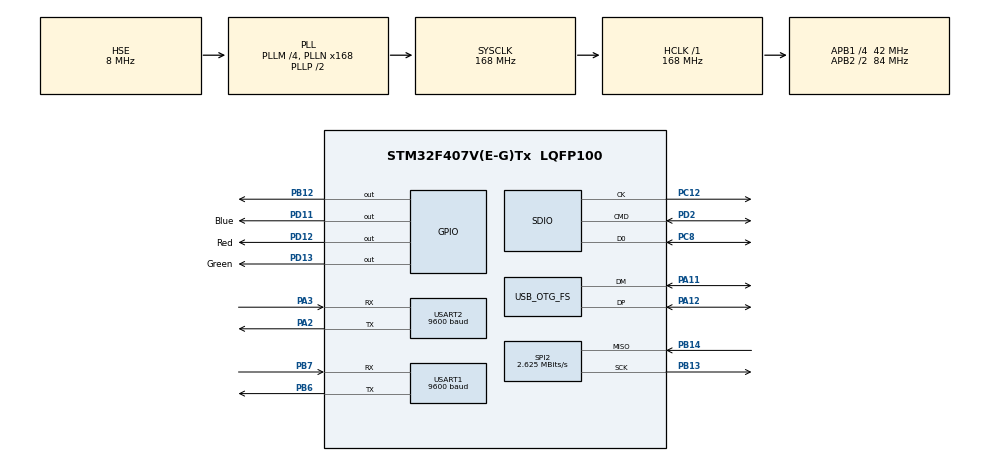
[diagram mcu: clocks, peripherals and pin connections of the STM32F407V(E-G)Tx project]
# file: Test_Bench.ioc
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FATFS.USE_DMA_CODE_SD=0
FATFS._CODE_PAGE=936
FATFS._USE_LFN=3
Mcu.Family=STM32F4
Mcu.Name=STM32F407V(E-G)Tx
Mcu.Package=LQFP100
NVIC.OTG_FS_IRQn=true\:0\:0\:false\:false\:true\:false\:true\:true
NVIC.PriorityGroup=NVIC_PRIORITYGROUP_4
NVIC.SDIO_IRQn=true\:1\:0\:true\:false\:true\:true\:true\:true
NVIC.TIM6_DAC_IRQn=true\:0\:0\:false\:false\:true\:true\:true\:true
NVIC.USART2_IRQn=true\:0\:0\:false\:false\:true\:true\:true\:true
PA11.Mode=Device_Only
PA11.Signal=USB_OTG_FS_DM
PA12.Mode=Device_Only
PA12.Signal=USB_OTG_FS_DP
PA13.Mode=Serial_Wire
PA13.Signal=SYS_JTMS-SWDIO
PA14.Mode=Serial_Wire
PA14.Signal=SYS_JTCK-SWCLK
PA2.Mode=Asynchronous
PA2.Signal=USART2_TX
PA3.Mode=Asynchronous
PA3.Signal=USART2_RX
PB12.GPIO_Speed=GPIO_SPEED_FREQ_VERY_HIGH
PB12.PinState=GPIO_PIN_SET
PB12.Signal=GPIO_Output
PB13.Mode=RX_Only_Simplex_Unidirect_Master
PB13.Signal=SPI2_SCK
PB14.Mode=RX_Only_Simplex_Unidirect_Master
PB14.Signal=SPI2_MISO
PB6.Mode=Asynchronous
PB6.Signal=USART1_TX
PB7.Mode=Asynchronous
PB7.Signal=USART1_RX
PC12.Mode=SD_1_bit
PC12.Signal=SDIO_CK
PC8.Mode=SD_1_bit
PC8.Signal=SDIO_D0
PD11.GPIO_Label=Blue
PD11.Signal=GPIO_Output
PD12.GPIO_Label=Red
PD12.Signal=GPIO_Output
PD13.GPIO_Label=Green
PD13.Signal=GPIO_Output
PD2.Mode=SD_1_bit
PD2.Signal=SDIO_CMD
PH0-OSC_IN.Mode=HSE-External-Oscillator
PH0-OSC_IN.Signal=RCC_OSC_IN
PH1-OSC_OUT.Mode=HSE-External-Oscillator
PH1-OSC_OUT.Signal=RCC_OSC_OUT
ProjectManager.HeapSize=0x200
ProjectManager.StackSize=0x400
ProjectManager.TargetToolchain=STM32CubeIDE
RCC.48MHZClocksFreq_Value=48000000
RCC.AHBFreq_Value=168000000
RCC.APB1CLKDivider=RCC_HCLK_DIV4
RCC.APB1Freq_Value=42000000
RCC.APB1TimFreq_Value=84000000
RCC.APB2CLKDivider=RCC_HCLK_DIV2
RCC.APB2Freq_Value=84000000
RCC.APB2TimFreq_Value=168000000
RCC.CortexFreq_Value=168000000
RCC.HCLKFreq_Value=168000000
RCC.HSE_VALUE=8000000
RCC.HSI_VALUE=16000000
RCC.LSE_VALUE=32768
RCC.PLLM=4
RCC.PLLN=168
RCC.PLLQ=7
RCC.SYSCLKFreq_VALUE=168000000
RCC.SYSCLKSource=RCC_SYSCLKSOURCE_PLLCLK
RCC.VCOOutputFreq_Value=336000000
SDIO.ClockDiv=4
SPI2.BaudRatePrescaler=SPI_BAUDRATEPRESCALER_16
SPI2.CalculateBaudRate=2.625 MBits/s
SPI2.Direction=SPI_DIRECTION_2LINES_RXONLY
SPI2.FirstBit=SPI_FIRSTBIT_MSB
SPI2.Mode=SPI_MODE_MASTER
SPI2.VirtualType=VM_MASTER
TIM6.Period=9
TIM6.Prescaler=8399
USART1.BaudRate=9600
USART1.VirtualMode=VM_ASYNC
USART2.BaudRate=9600
USART2.VirtualMode=VM_ASYNC
USB_DEVICE.CLASS_NAME_FS=CDC
USB_DEVICE.VirtualMode-CDC_FS=Cdc
USB_DEVICE.VirtualModeFS=Cdc_FS
USB_OTG_FS.VirtualMode=Device_Only
VP_FATFS_VS_SDIO.Mode=SDIO
VP_TIM6_VS_ClockSourceINT.Mode=Enable_Timer
VP_USB_DEVICE_VS_USB_DEVICE_CDC_FS.Mode=CDC_FS
board=custom

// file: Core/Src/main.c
/* USER CODE BEGIN Header */
/**
  ******************************************************************************
  * @file           : main.c
  * @brief          : Main program body
  ******************************************************************************
  * @attention
  *
  * Copyright (c) 2025 STMicroelectronics.
  * All rights reserved.
  *
  * This software is licensed under terms that can be found in the LICENSE file
  * in the root directory of this software component.
  * If no LICENSE file comes with this software, it is provided AS-IS.
  *
  ******************************************************************************
  */
/* USER CODE END Header */
#include "main.h"
#include "fatfs.h"
#include "sdio.h"
#include "spi.h"
#include "tim.h"
#include "usart.h"
#include "usb_device.h"
#include "gpio.h"

/* USER CODE BEGIN Includes */
#include <stdbool.h>
#include <stdio.h>
#include <string.h>
#include <time.h>

#include "stm32f4xx_hal.h"
#include "usbd_cdc.h"
#include "usbd_cdc_if.h"
#include "diskio.h"
#include "file_conf.h"
#include "message_define.h"
#include "pre_sen.h"
#include "temprature.h"
#include "EXTI.h"
#include "global.h"
/* USER CODE END Includes */

/* USER CODE BEGIN PTD */
extern int64_t time_ms;
extern int ms_counter;
extern char time_c[15];
/* USER CODE END PTD */

void SystemClock_Config(void);

int main(void)
{

  /* MCU Configuration--------------------------------------------------------*/

  /* Reset of all peripherals, Initializes the Flash interface and the Systick. */
  HAL_Init();

  /* Configure the system clock */
  SystemClock_Config();

  /* Initialize all configured peripherals */
  MX_GPIO_Init();
  MX_USART2_UART_Init();
  MX_USB_DEVICE_Init();
  MX_SDIO_SD_Init();
  MX_FATFS_Init();
  MX_SPI2_Init();
  MX_USART1_UART_Init();
  MX_TIM6_Init();
  /* USER CODE BEGIN 2 */

  SD_files_Init();
  SD_files_mount();

  bool time_flag = false;

  HAL_GPIO_WritePin(GPIOD, Red_Pin, GPIO_PIN_SET);
  HAL_GPIO_WritePin(GPIOD, Green_Pin, GPIO_PIN_RESET);
  HAL_GPIO_WritePin(GPIOD, Blue_Pin, GPIO_PIN_RESET);

  while (!time_flag) {
    if (usb_rx_len == 10) {
        time_ms = (int64_t)strtoll(usb_rx_buffer, NULL, 10);
        usb_rx_len = 0;
        Send_Init_Success_to_PC(System);
        time_ms = time_ms * 1000;
        time_flag = true;
    }
  }
    HAL_TIM_Base_Start_IT(&htim6);

  HAL_GPIO_WritePin(GPIOD, Red_Pin, GPIO_PIN_RESET);
  HAL_GPIO_WritePin(GPIOD, Green_Pin, GPIO_PIN_SET);
  HAL_GPIO_WritePin(GPIOD, Blue_Pin, GPIO_PIN_RESET);

  pre_init();

  /* USER CODE END 2 */

  /* Infinite loop */
  while (1)
  {

    /* USER CODE BEGIN 3 */

    if (usb_rx_len == 1) {
      usb_rx_len = 0;
      int command = usb_rx_buffer[0];
      switch (command) {
        case 0x01 :
          pre_clear();
          break;

        case 0x02 :
          Start_Read();

          HAL_GPIO_WritePin(GPIOD, Red_Pin, GPIO_PIN_RESET);
          HAL_GPIO_WritePin(GPIOD, Green_Pin, GPIO_PIN_RESET);
          HAL_GPIO_WritePin(GPIOD, Blue_Pin, GPIO_PIN_SET);

          while (true) {
            if (usb_rx_len == 1 && usb_rx_buffer[0] == 0xFF) {
              usb_rx_len = 0;
              finishing_Read();

              HAL_GPIO_WritePin(GPIOD, Red_Pin, GPIO_PIN_RESET);
              HAL_GPIO_WritePin(GPIOD, Green_Pin, GPIO_PIN_SET);
              HAL_GPIO_WritePin(GPIOD, Blue_Pin, GPIO_PIN_RESET);

              break;
            }
            usb_rx_len = 0;
            Read_value();
            Send_Value();
            HAL_Delay(2);
          }

          break;

        default:

          break;
      }

    }

    Send_Value();
    HAL_Delay(2);

  }
  /* USER CODE END 3 */
}

void SystemClock_Config(void)
{
  RCC_OscInitTypeDef RCC_OscInitStruct = {0};
  RCC_ClkInitTypeDef RCC_ClkInitStruct = {0};

  /** Configure the main internal regulator output voltage
  */
  __HAL_RCC_PWR_CLK_ENABLE();
  __HAL_PWR_VOLTAGESCALING_CONFIG(PWR_REGULATOR_VOLTAGE_SCALE1);

  /** Initializes the RCC Oscillators according to the specified parameters
  * in the RCC_OscInitTypeDef structure.
  */
  RCC_OscInitStruct.OscillatorType = RCC_OSCILLATORTYPE_HSE;
  RCC_OscInitStruct.HSEState = RCC_HSE_ON;
  RCC_OscInitStruct.PLL.PLLState = RCC_PLL_ON;
  RCC_OscInitStruct.PLL.PLLSource = RCC_PLLSOURCE_HSE;
  RCC_OscInitStruct.PLL.PLLM = 4;
  RCC_OscInitStruct.PLL.PLLN = 168;
  RCC_OscInitStruct.PLL.PLLP = RCC_PLLP_DIV2;
  RCC_OscInitStruct.PLL.PLLQ = 7;
  if (HAL_RCC_OscConfig(&RCC_OscInitStruct) != HAL_OK)
  {
    Error_Handler();
  }

  /** Initializes the CPU, AHB and APB buses clocks
  */
  RCC_ClkInitStruct.ClockType = RCC_CLOCKTYPE_HCLK|RCC_CLOCKTYPE_SYSCLK
                              |RCC_CLOCKTYPE_PCLK1|RCC_CLOCKTYPE_PCLK2;
  RCC_ClkInitStruct.SYSCLKSource = RCC_SYSCLKSOURCE_PLLCLK;
  RCC_ClkInitStruct.AHBCLKDivider = RCC_SYSCLK_DIV1;
  RCC_ClkInitStruct.APB1CLKDivider = RCC_HCLK_DIV4;
  RCC_ClkInitStruct.APB2CLKDivider = RCC_HCLK_DIV2;

  if (HAL_RCC_ClockConfig(&RCC_ClkInitStruct, FLASH_LATENCY_5) != HAL_OK)
  {
    Error_Handler();
  }
}

void Error_Handler(void)
{
  __disable_irq();
  while (1)
  {
  }
}
